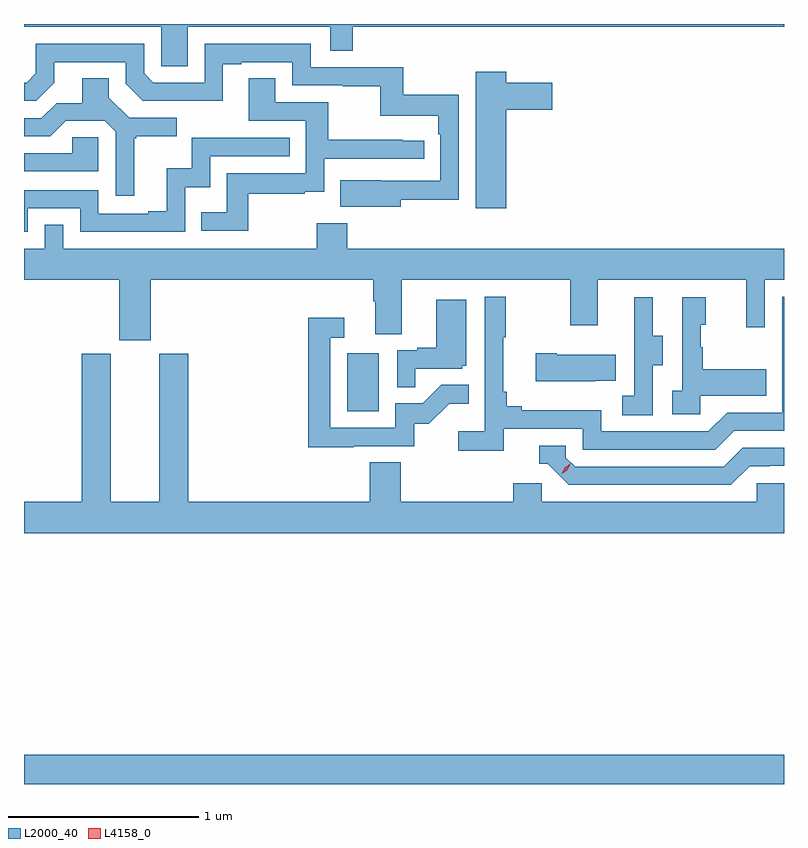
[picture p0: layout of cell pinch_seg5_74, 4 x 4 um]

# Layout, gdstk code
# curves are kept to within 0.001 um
import gdstk
lib = gdstk.Library(unit=1e-6, precision=1e-09)
def R(c, l, rs):  # rectangles x0, y0, x1, y1
    for r in rs: c.add(gdstk.rectangle(r[:2], r[2:], *l))
def P(c, l, *ps):  # polygons
    for p in ps: c.add(gdstk.Polygon(p, *l))
L2000_40 = (2000, 40)
L4158_0 = (4158, 0)

pinch_seg5_74 = lib.new_cell('pinch_seg5_74')
R(pinch_seg5_74, L2000_40, [(1030.306,899.395,1034.306,899.548), (1032.008,901.356,1032.172,901.663)])
P(pinch_seg5_74, L2000_40, [(1031.167,903.38),(1031.919,903.38),(1031.919,903.253),(1032.035,903.253),(1032.035,903.38),(1034.306,903.38),(1034.306,903.395),(1030.306,903.395),(1030.306,903.38),(1031.028,903.38),(1031.028,903.172),(1031.167,903.172)],
  [(1032.289,902.47),(1032.594,902.47),(1032.594,903.022),(1032.301,903.022),(1032.301,903.168),(1031.814,903.168),(1031.814,903.291),(1031.256,903.291),(1031.256,903.087),(1030.986,903.087),(1030.938,903.135),(1030.938,903.291),(1030.368,903.291),(1030.368,903.135),(1030.32,903.087),(1030.306,903.087),(1030.306,902.991),(1030.371,902.991),(1030.465,903.085),(1030.465,903.195),(1030.842,903.195),(1030.842,903.081),(1030.932,902.991),(1031.353,902.99),(1031.353,903.183),(1031.449,903.183),(1031.449,903.195),(1031.718,903.195),(1031.718,903.072),(1031.983,903.072),(1031.983,903.067),(1032.18,903.067),(1032.18,902.912),(1032.485,902.912),(1032.485,902.816),(1032.498,902.816),(1032.498,902.571),(1031.971,902.572),(1031.971,902.432),(1032.289,902.432)],
  [(1032.844,902.945),(1033.087,902.945),(1033.087,903.087),(1032.844,903.087),(1032.844,903.145),(1032.683,903.145),(1032.683,902.424),(1032.844,902.424)],
  [(1030.885,902.793),(1030.897,902.793),(1030.897,902.804),(1031.11,902.804),(1031.11,902.901),(1030.86,902.901),(1030.753,903.008),(1030.753,903.11),(1030.613,903.11),(1030.613,902.978),(1030.478,902.978),(1030.398,902.898),(1030.306,902.898),(1030.306,902.805),(1030.444,902.805),(1030.525,902.886),(1030.731,902.886),(1030.788,902.829),(1030.788,902.49),(1030.885,902.49)],
  [(1031.485,902.502),(1031.783,902.502),(1031.783,902.513),(1031.886,902.513),(1031.886,902.685),(1032.412,902.685),(1032.412,902.781),(1032.299,902.781),(1032.299,902.786),(1031.906,902.786),(1031.906,902.982),(1031.629,902.982),(1031.629,903.11),(1031.489,903.11),(1031.489,902.886),(1031.79,902.886),(1031.79,902.61),(1031.374,902.61),(1031.374,902.404),(1031.239,902.404),(1031.239,902.307),(1031.485,902.307)],
  [(1030.698,902.799),(1030.561,902.799),(1030.561,902.715),(1030.306,902.715),(1030.306,902.619),(1030.698,902.619)],
  [(1030.326,902.424),(1030.602,902.424),(1030.602,902.301),(1031.154,902.301),(1031.154,902.537),(1031.286,902.537),(1031.286,902.7),(1031.705,902.7),(1031.705,902.796),(1031.19,902.796),(1031.19,902.635),(1031.057,902.635),(1031.057,902.41),(1030.961,902.41),(1030.961,902.397),(1030.698,902.397),(1030.698,902.52),(1030.306,902.52),(1030.306,902.301),(1030.326,902.301)],
  [(1030.972,902.048),(1032.143,902.048),(1032.143,901.936),(1032.155,901.936),(1032.155,901.762),(1032.295,901.762),(1032.295,902.048),(1033.18,902.048),(1033.18,901.809),(1033.327,901.809),(1033.327,902.048),(1034.108,902.048),(1034.108,901.8),(1034.205,901.8),(1034.205,902.048),(1034.306,902.048),(1034.306,902.212),(1032.007,902.212),(1032.007,902.347),(1031.848,902.347),(1031.848,902.212),(1030.512,902.212),(1030.512,902.339),(1030.416,902.339),(1030.416,902.212),(1030.306,902.212),(1030.306,902.048),(1030.808,902.048),(1030.808,901.731),(1030.972,901.731)],
  [(1032.83,901.266),(1033.248,901.266),(1033.248,901.155),(1033.945,901.155),(1034.044,901.254),(1034.306,901.254),(1034.306,901.959),(1034.298,901.959),(1034.298,901.35),(1034.007,901.35),(1033.908,901.251),(1033.344,901.251),(1033.344,901.363),(1032.925,901.363),(1032.925,901.382),(1032.848,901.382),(1032.848,901.459),(1032.829,901.459),(1032.829,901.747),(1032.841,901.747),(1032.841,901.96),(1032.732,901.96),(1032.732,901.252),(1032.591,901.252),(1032.591,901.15),(1032.83,901.15)],
  [(1033.614,901.6),(1033.669,901.6),(1033.669,901.755),(1033.615,901.755),(1033.615,901.957),(1033.517,901.957),(1033.517,901.743),(1033.518,901.743),(1033.518,901.439),(1033.455,901.439),(1033.455,901.336),(1033.614,901.336)],
  [(1033.866,901.439),(1034.213,901.439),(1034.213,901.579),(1033.879,901.579),(1033.879,901.694),(1033.869,901.694),(1033.869,901.812),(1033.894,901.812),(1033.894,901.957),(1033.77,901.957),(1033.77,901.466),(1033.719,901.466),(1033.719,901.341),(1033.866,901.341)],
  [(1032.365,901.581),(1032.612,901.581),(1032.612,901.596),(1032.634,901.596),(1032.634,901.945),(1032.476,901.945),(1032.476,901.69),(1032.377,901.69),(1032.377,901.677),(1032.27,901.677),(1032.27,901.483),(1032.365,901.483)],
  [(1032.041,901.173),(1032.36,901.173),(1032.36,901.29),(1032.436,901.29),(1032.543,901.397),(1032.647,901.397),(1032.647,901.496),(1032.503,901.496),(1032.405,901.398),(1032.261,901.398),(1032.261,901.269),(1031.919,901.269),(1031.919,901.743),(1031.992,901.743),(1031.992,901.849),(1031.803,901.849),(1031.803,901.168),(1032.041,901.168)],
  [(1033.313,901.517),(1033.421,901.517),(1033.421,901.654),(1033.111,901.654),(1033.111,901.662),(1032.999,901.662),(1032.999,901.514),(1033.313,901.514)],
  [(1034.306,900.978),(1034.163,900.978),(1034.163,900.88),(1033.032,900.88),(1033.032,900.978),(1032.881,900.978),(1032.881,900.88),(1032.29,900.88),(1032.29,901.088),(1032.125,901.088),(1032.125,900.88),(1031.171,900.88),(1031.171,901.659),(1031.018,901.659),(1031.018,900.88),(1030.762,900.88),(1030.762,901.659),(1030.61,901.659),(1030.61,900.88),(1030.306,900.88),(1030.306,900.716),(1034.306,900.716)],
  [(1034.125,901.068),(1034.232,901.068),(1034.232,901.071),(1034.306,901.071),(1034.306,901.164),(1034.088,901.164),(1033.989,901.065),(1033.206,901.065),(1033.158,901.113),(1033.158,901.176),(1033.019,901.176),(1033.019,901.08),(1033.062,901.08),(1033.173,900.969),(1034.026,900.969)])
P(pinch_seg5_74, L4158_0, [(1033.135,901.027),(1033.135,901.027),(1033.151,901.06),(1033.181,901.08),(1033.181,901.08),(1033.181,901.079),(1033.166,901.046),(1033.136,901.027)])

lib.write_gds('pinch_seg5_74.gds')
